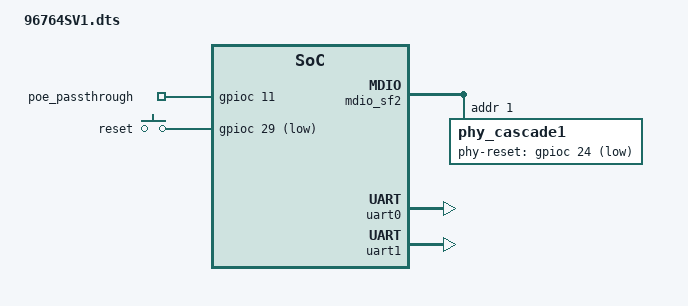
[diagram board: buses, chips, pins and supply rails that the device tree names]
#include "6764.dtsi"
#include <dt-bindings/input/linux-event-codes.h>

/ {

	memory_controller {
		memcfg = <(BP_DDR_TYPE_DDR3       | \
			BP_DDR_SPEED_933_13_13_13    | \
			BP_DDR_TOTAL_SIZE_512MB      | \
			BP_DDR_DEVICE_WIDTH_16         | \
			BP_DDR_TOTAL_WIDTH_16BIT      | \
			BP_DDR_6764_DEFAULT)>;    /* memcfg=0x0000142f */
	};

	config {
			system_led = "oem:green:status";
			reset_led = "oem:green:internet";
	};

	gpio_export {
		compatible = "gpio-export";
		#size-cells = <0>;

		poe_passthrough {
			gpio-export,name = "poe_passthrough";
			gpio-export,output = <0>;
            gpios = <&gpioc 11 GPIO_ACTIVE_HIGH>;
		};
	};

    gpio-keys-polled {
        compatible = "gpio-keys-polled";
        //#address-cells = <1>;
        //#size-cells = <0>;
        poll-interval = <20>;

        reset {
            label = "reset";
            gpios = <&gpioc 29 GPIO_ACTIVE_LOW>;
			linux,code = <KEY_RESTART>;
        };
    };
};

&mdio_sf2 {
	/* Port PHY mapping:
        port_imp -8#0- port_gphy <----> phy_gphy
                  # 6- port_sgmii1 <--> phy_serdes1 - phy_cascade1
                  ##5- port_sgmii0 <--> phy_serdes0 <--> port_ext_imp -8#0- port_ext_gphy0 <--> phy_ext_gphy0
                                                                       # 1- port_ext_gphy1 <--> phy_ext_gphy1
                                                                       # 2- port_ext_gphy2 <--> phy_ext_gphy2
                                                                       ##3- port_ext_gphy3 <--> phy_ext_gphy3
	 */
	phy_gphy {
		status = "okay";
	};

	phy_cascade1 {
		shared-ref-clk-mhz = <80>;
		phy-reset = <&gpioc 24 GPIO_ACTIVE_LOW>; 
		reg = <1>;
		status = "okay";
		phy-type = "YT8821C";
	};
	phy_serdes1 {
		phy-handle = <&phy_cascade1>;	
		status = "okay";
	};
};

&switch0 {
	ports {
		port_gphy {
			phy-handle = <&phy_gphy>;
			status = "okay";
			mtd-mac-address = <&bdinfo 0xDE00>;
		};
		port_sgmii1 {
			phy-handle = <&phy_serdes1>;
			status = "okay";
			mtd-mac-address = <&bdinfo 0xDE00>;
			mtd-mac-address-increment = <1>;
		};
	};
};


&vreg_sync {
	pinctrl-0 = <&b_vreg_sync_pin_33 &a_vreg_sync_pin_44>;
	pinctrl-names = "default";
	status="okay";
};

&led_ctrl {
	led4: sw_parallel_led_4 {
		active_low;
		pinctrl-0 = <&a_per_led_28_pin_28>;
		brightness = <255>;
		flash_rate = <0>;
		status="okay";
		label="oem:green:red";
	};
	led5: sw_parallel_led_5 {
		active_low;
		pinctrl-0 = <&b_per_led_05_pin_38>;
		brightness = <255>;
		flash_rate = <0>;
		status="okay";
		label="oem:green:blue";
	};
	led6: sw_parallel_led_6 {
		active_low;
		pinctrl-0 = <&a_per_led_10_pin_10>;
		brightness = <255>;
		flash_rate = <0>;
		status="okay";
		label="oem:green:status";
	};
};

&legacy_leds {
	//wl-sess-led = <&led7>;
	wl0-led = <&led6>;
	wl1-led = <&led5>;
};

&uart0 {
	pinctrl-names = "default";
	pinctrl-0 = <&uart0_sdin_pin_64 &uart0_sdout_pin_65>;
	status = "okay";
};

&uart1 {
    pinctrl-names = "default";
    pinctrl-0 = <&a_uart1_sin_pin_32 &a_uart1_sout_pin_2>;
    status = "okay";
};


#if defined(CONFIG_BCM_PCIE_HCD) || defined(CONFIG_BCM_PCIE_HCD_MODULE)

&pcie0 {
	status = "disabled";
};
#endif //#if defined(CONFIG_BCM_PCIE_HCD) || defined(CONFIG_BCM_PCIE_HCD_MODULE)

&plat_rsvmem_uncached_device {

#ifdef DT_RESERVED_DHD_IN_UNCACHED_DEV
	 dt_reserved_dhd0:dt_reserved_dhd0 {
		rsvd-size = <0>;
	};
	 dt_reserved_dhd1:dt_reserved_dhd1 {
		rsvd-size = <0>;
	};
	 dt_reserved_dhd2:dt_reserved_dhd2 {
		rsvd-size = <0>;
	};
#endif

};
